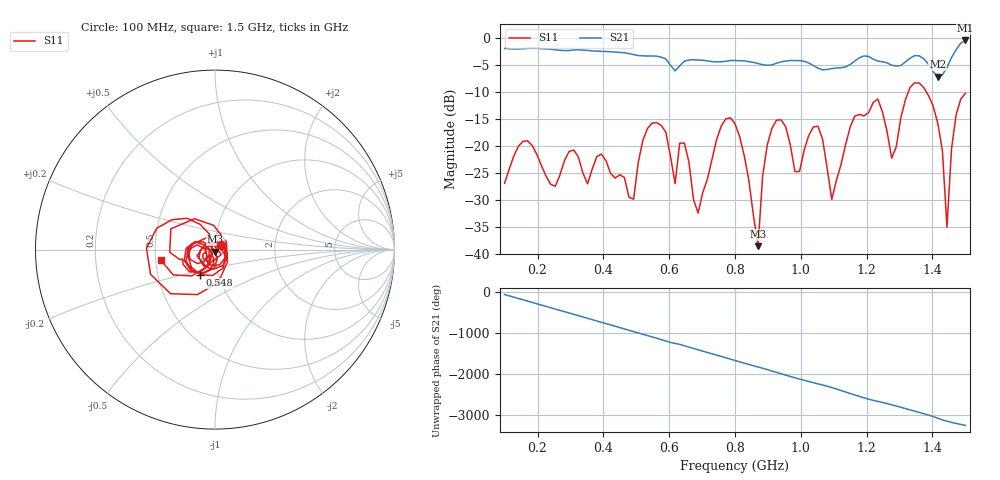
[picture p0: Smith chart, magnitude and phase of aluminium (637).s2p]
! NanoVNA-App
! Date: 2025-09-25 15:00:14
! Start: 100MHz Stop: 1,5GHz Points: 101
! S-Parameter data: F S11 S21 S12 S22
# Hz S RI R 50
!  Frequency  S11_Real  S11_Imag  S21_Real  S21_Imag  S12_Real  S12_Imag  S22_Real  S22_Imag
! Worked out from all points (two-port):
!   101 points, 100 MHz to 1.5 GHz, reference 50 ohm
!   highest |S21| = -0.44 dB at 1.5 GHz (marker M1); lowest = -7.2 dB at 1.416 GHz (marker M2)
!   |S21| within 3 dB of the highest: start of sweep to 568.6 MHz; 1.459 GHz to end of sweep (the widest 2 of 4)
!   lowest |S11| = -38.6 dB at 870 MHz (marker M3), VSWR 1.02, Z = 50.1 - j1.16 ohm
!   |S11| at or under -10 dB: start of sweep to 1.327 GHz; 1.381 GHz to end of sweep
!   S12 and S22 are empty: the file has one direction only
!   S11 on the Smith chart (normalised r, x): 100 MHz: 1.07, +0.06; 548 MHz: 0.82, -0.24; 1.5 GHz: 0.53, -0.07
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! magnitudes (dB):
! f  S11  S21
! 100 MHz  -27.0  -1.9
! 156 MHz  -19.2  -2.0
! 338 MHz  -25.1  -2.2
! 492 MHz  -29.9  -3.1
! 548 MHz  -15.8  -3.3
! 576 MHz  -16.2  -3.5
! 618 MHz  -27.0  -6.1
! 646 MHz  -19.5  -4.3
! 688 MHz  -32.5  -4.1
! 800 MHz  -15.9  -4.2
! 870 MHz  -38.6  -4.7
! 912 MHz  -16.8  -5.0
! 996 MHz  -24.8  -4.2
! 1.038 GHz  -16.5  -5.1
! 1.094 GHz  -30.0  -5.7
! 1.234 GHz  -11.3  -4.3
! 1.276 GHz  -22.3  -5.0
! 1.346 GHz  -8.3  -3.2
! 1.416 GHz  -15.8  -7.2
! 1.444 GHz  -35.1  -5.5
! 1.472 GHz  -14.2  -2.1
! 1.5 GHz  -10.3  -0.4
